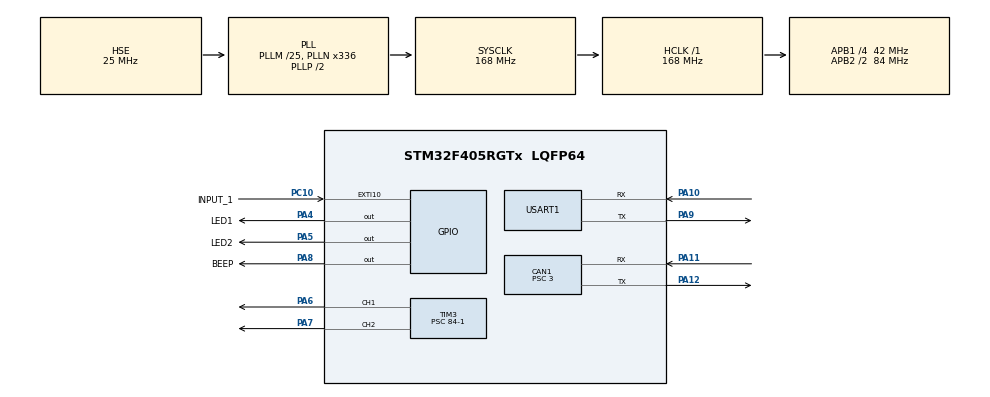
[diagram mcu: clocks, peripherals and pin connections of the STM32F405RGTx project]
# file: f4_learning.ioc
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CAN1.ABOM=ENABLE
CAN1.AWUM=ENABLE
CAN1.BS1=CAN_BS1_9TQ
CAN1.BS2=CAN_BS2_4TQ
CAN1.CalculateBaudRate=1000000
CAN1.CalculateTimeBit=1000
CAN1.CalculateTimeQuantum=71.42857142857143
CAN1.NART=ENABLE
CAN1.Prescaler=3
Dma.Request0=USART1_RX
Dma.Request1=USART1_TX
Dma.USART1_RX.0.Direction=DMA_PERIPH_TO_MEMORY
Dma.USART1_RX.0.FIFOMode=DMA_FIFOMODE_DISABLE
Dma.USART1_RX.0.Instance=DMA2_Stream2
Dma.USART1_RX.0.MemDataAlignment=DMA_MDATAALIGN_BYTE
Dma.USART1_RX.0.MemInc=DMA_MINC_ENABLE
Dma.USART1_RX.0.Mode=DMA_NORMAL
Dma.USART1_RX.0.PeriphDataAlignment=DMA_PDATAALIGN_BYTE
Dma.USART1_RX.0.PeriphInc=DMA_PINC_DISABLE
Dma.USART1_RX.0.Priority=DMA_PRIORITY_LOW
Dma.USART1_TX.1.Direction=DMA_MEMORY_TO_PERIPH
Dma.USART1_TX.1.FIFOMode=DMA_FIFOMODE_DISABLE
Dma.USART1_TX.1.Instance=DMA2_Stream7
Dma.USART1_TX.1.MemDataAlignment=DMA_MDATAALIGN_BYTE
Dma.USART1_TX.1.MemInc=DMA_MINC_ENABLE
Dma.USART1_TX.1.Mode=DMA_NORMAL
Dma.USART1_TX.1.PeriphDataAlignment=DMA_PDATAALIGN_BYTE
Dma.USART1_TX.1.PeriphInc=DMA_PINC_DISABLE
Dma.USART1_TX.1.Priority=DMA_PRIORITY_LOW
Mcu.Family=STM32F4
Mcu.Name=STM32F405RGTx
Mcu.Package=LQFP64
NVIC.CAN1_RX0_IRQn=true\:5\:0\:true\:false\:true\:true\:true\:true
NVIC.CAN1_RX1_IRQn=true\:5\:0\:true\:false\:true\:true\:true\:true
NVIC.DMA2_Stream2_IRQn=true\:5\:0\:true\:false\:true\:false\:true\:true
NVIC.DMA2_Stream7_IRQn=true\:5\:0\:true\:false\:true\:false\:true\:true
NVIC.EXTI15_10_IRQn=true\:5\:0\:true\:false\:true\:true\:true\:true
NVIC.PriorityGroup=NVIC_PRIORITYGROUP_4
NVIC.TIM1_UP_TIM10_IRQn=true\:15\:0\:false\:false\:true\:false\:true\:true
NVIC.TIM2_IRQn=true\:5\:0\:true\:false\:true\:true\:true\:true
NVIC.TimeBase=TIM1_UP_TIM10_IRQn
NVIC.TimeBaseIP=TIM1
NVIC.USART1_IRQn=true\:5\:0\:true\:false\:true\:true\:true\:true
PA10.GPIO_PuPd=GPIO_PULLUP
PA10.Mode=Asynchronous
PA10.Signal=USART1_RX
PA11.Mode=CAN_Activate
PA11.Signal=CAN1_RX
PA12.Mode=CAN_Activate
PA12.Signal=CAN1_TX
PA4.GPIO_Label=LED1
PA4.GPIO_PuPd=GPIO_PULLDOWN
PA4.PinState=GPIO_PIN_RESET
PA4.Signal=GPIO_Output
PA5.GPIO_Label=LED2
PA5.GPIO_PuPd=GPIO_PULLDOWN
PA5.GPIO_Speed=GPIO_SPEED_FREQ_LOW
PA5.PinState=GPIO_PIN_RESET
PA5.Signal=GPIO_Output
PA6.Signal=S_TIM3_CH1
PA7.Signal=S_TIM3_CH2
PA8.GPIO_Label=BEEP
PA8.GPIO_PuPd=GPIO_PULLDOWN
PA8.PinState=GPIO_PIN_RESET
PA8.Signal=GPIO_Output
PA9.GPIO_PuPd=GPIO_NOPULL
PA9.Mode=Asynchronous
PA9.Signal=USART1_TX
PC10.GPIO_Label=INPUT_1
PC10.GPIO_ModeDefaultEXTI=GPIO_MODE_IT_FALLING
PC10.GPIO_PuPd=GPIO_PULLUP
PC10.Signal=GPXTI10
PH0-OSC_IN.Mode=HSE-External-Oscillator
PH0-OSC_IN.Signal=RCC_OSC_IN
PH1-OSC_OUT.Mode=HSE-External-Oscillator
PH1-OSC_OUT.Signal=RCC_OSC_OUT
ProjectManager.HeapSize=0x800
ProjectManager.StackSize=0x400
ProjectManager.TargetToolchain=MDK-ARM V5.32
RCC.48MHZClocksFreq_Value=84000000
RCC.AHBFreq_Value=168000000
RCC.APB1CLKDivider=RCC_HCLK_DIV4
RCC.APB1Freq_Value=42000000
RCC.APB1TimFreq_Value=84000000
RCC.APB2CLKDivider=RCC_HCLK_DIV2
RCC.APB2Freq_Value=84000000
RCC.APB2TimFreq_Value=168000000
RCC.CortexFreq_Value=168000000
RCC.HCLKFreq_Value=168000000
RCC.HSE_VALUE=25000000
RCC.HSI_VALUE=16000000
RCC.LSE_VALUE=32768
RCC.PLLM=25
RCC.PLLN=336
RCC.PLLSourceVirtual=RCC_PLLSOURCE_HSE
RCC.SYSCLKFreq_VALUE=168000000
RCC.SYSCLKSource=RCC_SYSCLKSOURCE_PLLCLK
RCC.VCOOutputFreq_Value=336000000
SH.S_TIM3_CH1.0=TIM3_CH1,PWM Generation1 CH1
SH.S_TIM3_CH2.0=TIM3_CH2,PWM Generation2 CH2
TIM2.Period=2000-1
TIM2.Prescaler=84-1
TIM3.AutoReloadPreload=TIM_AUTORELOAD_PRELOAD_ENABLE
TIM3.Channel-PWM\ Generation1\ CH1=TIM_CHANNEL_1
TIM3.Channel-PWM\ Generation2\ CH2=TIM_CHANNEL_2
TIM3.Period=1000-1
TIM3.Prescaler=84-1
USART1.VirtualMode=VM_ASYNC
VP_SYS_VS_tim1.Mode=TIM1
VP_TIM2_VS_ClockSourceINT.Mode=Internal
VP_TIM3_VS_ClockSourceINT.Mode=Internal
board=custom

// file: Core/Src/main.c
/* USER CODE BEGIN Header */
/**
  ******************************************************************************
  * @file           : main.c
  * @brief          : Main program body
  ******************************************************************************
  * @attention
  *
  * Copyright (c) 2026 STMicroelectronics.
  * All rights reserved.
  *
  * This software is licensed under terms that can be found in the LICENSE file
  * in the root directory of this software component.
  * If no LICENSE file comes with this software, it is provided AS-IS.
  *
  ******************************************************************************
  */
/* USER CODE END Header */
#include "main.h"
#include "can.h"
#include "dma.h"
#include "tim.h"
#include "usart.h"
#include "gpio.h"

/* USER CODE BEGIN Includes */
#include "Led.h"
#include "IRQ_Handler.h"
/* USER CODE END Includes */

void SystemClock_Config(void);

/* USER CODE BEGIN 0 */
bool pin_state = 0;
/* USER CODE END 0 */

int main(void)
{

  /* MCU Configuration--------------------------------------------------------*/

  /* Reset of all peripherals, Initializes the Flash interface and the Systick. */
  HAL_Init();

  /* Configure the system clock */
  SystemClock_Config();

  /* Initialize all configured peripherals */
  MX_GPIO_Init();
  MX_DMA_Init();
  MX_TIM2_Init();
  MX_TIM3_Init();
  MX_USART1_UART_Init();
  MX_CAN1_Init();
  /* USER CODE BEGIN 2 */
  Beep_Init();
  UART_Start_Receive();
  /* USER CODE END 2 */

  /* Infinite loop */
  /* USER CODE BEGIN WHILE */
  while (1)
  {
//      Led_Water();
      if(Beep_Trigger != 0)
      {
        Beep_Alarm(Beep_Trigger);
        Beep_Trigger = 0;

        CAN_TxHeaderTypeDef TxHeader;
        uint32_t TxMailbox; // 用于记录这次发送用掉了哪个邮箱
        uint8_t TxData[8] = {0x01, 0x02, 0x03, 0x04, 0x05, 0x06, 0x07, 0x08}; // 要发送的数据

        TxHeader.StdId = 0;                 // 标准ID
        TxHeader.ExtId = 0x01020304;                     // 扩展ID
        TxHeader.IDE = CAN_ID_EXT;              // 标准帧/扩展帧
        TxHeader.RTR = CAN_RTR_DATA;            // 数据帧
        TxHeader.DLC = 8;                  // 数据长度 (0~8)
        TxHeader.TransmitGlobalTime = DISABLE;  // 禁用时间戳

        HAL_CAN_AddTxMessage(&hcan1, &TxHeader, TxData, &TxMailbox);
      }

    /* USER CODE END WHILE */

  }
}

void SystemClock_Config(void)
{
  RCC_OscInitTypeDef RCC_OscInitStruct = {0};
  RCC_ClkInitTypeDef RCC_ClkInitStruct = {0};

  /** Configure the main internal regulator output voltage
  */
  __HAL_RCC_PWR_CLK_ENABLE();
  __HAL_PWR_VOLTAGESCALING_CONFIG(PWR_REGULATOR_VOLTAGE_SCALE1);

  /** Initializes the RCC Oscillators according to the specified parameters
  * in the RCC_OscInitTypeDef structure.
  */
  RCC_OscInitStruct.OscillatorType = RCC_OSCILLATORTYPE_HSE;
  RCC_OscInitStruct.HSEState = RCC_HSE_ON;
  RCC_OscInitStruct.PLL.PLLState = RCC_PLL_ON;
  RCC_OscInitStruct.PLL.PLLSource = RCC_PLLSOURCE_HSE;
  RCC_OscInitStruct.PLL.PLLM = 25;
  RCC_OscInitStruct.PLL.PLLN = 336;
  RCC_OscInitStruct.PLL.PLLP = RCC_PLLP_DIV2;
  RCC_OscInitStruct.PLL.PLLQ = 4;
  if (HAL_RCC_OscConfig(&RCC_OscInitStruct) != HAL_OK)
  {
    Error_Handler();
  }

  /** Initializes the CPU, AHB and APB buses clocks
  */
  RCC_ClkInitStruct.ClockType = RCC_CLOCKTYPE_HCLK|RCC_CLOCKTYPE_SYSCLK
                              |RCC_CLOCKTYPE_PCLK1|RCC_CLOCKTYPE_PCLK2;
  RCC_ClkInitStruct.SYSCLKSource = RCC_SYSCLKSOURCE_PLLCLK;
  RCC_ClkInitStruct.AHBCLKDivider = RCC_SYSCLK_DIV1;
  RCC_ClkInitStruct.APB1CLKDivider = RCC_HCLK_DIV4;
  RCC_ClkInitStruct.APB2CLKDivider = RCC_HCLK_DIV2;

  if (HAL_RCC_ClockConfig(&RCC_ClkInitStruct, FLASH_LATENCY_5) != HAL_OK)
  {
    Error_Handler();
  }
}

void HAL_TIM_PeriodElapsedCallback(TIM_HandleTypeDef *htim)
{
  if (htim->Instance == TIM1)
  {
    HAL_IncTick();
  }
  /* USER CODE BEGIN Callback 1 */
  TIM_PeriodElapsedCallback(htim);
  /* USER CODE END Callback 1 */
}

void Error_Handler(void)
{
  __disable_irq();
  while (1)
  {
  }
}
